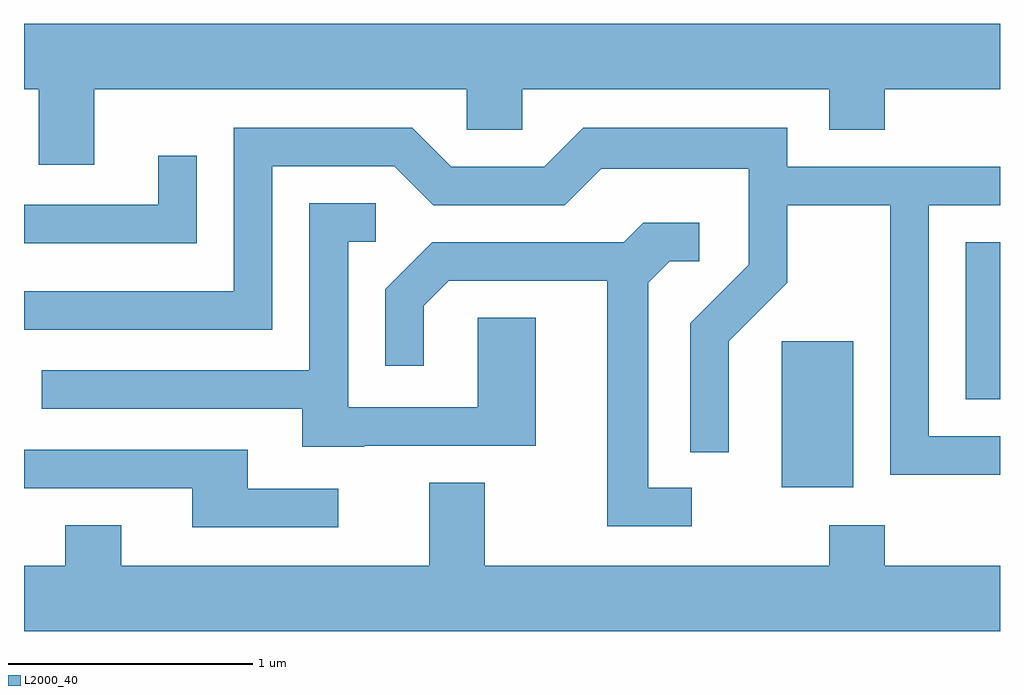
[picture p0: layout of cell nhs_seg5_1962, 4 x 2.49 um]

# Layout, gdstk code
import gdstk
lib = gdstk.Library(unit=1e-6, precision=1e-09)
def R(c, l, rs):  # rectangles x0, y0, x1, y1
    for r in rs: c.add(gdstk.rectangle(r[:2], r[2:], *l))
def P(c, l, *ps):  # polygons
    for p in ps: c.add(gdstk.Polygon(p, *l))
L2000_40 = (2000, 40)

nhs_seg5_1962 = lib.new_cell('nhs_seg5_1962')
R(nhs_seg5_1962, L2000_40, [(246.716,1432.966,247.009,1433.564), (247.471,1433.326,247.611,1433.969)])
P(nhs_seg5_1962, L2000_40, [(243.611,1434.596),(243.671,1434.596),(243.671,1434.286),(243.899,1434.286),(243.899,1434.596),(245.426,1434.596),(245.426,1434.431),(245.654,1434.431),(245.654,1434.596),(246.911,1434.596),(246.911,1434.431),(247.139,1434.431),(247.139,1434.596),(247.611,1434.596),(247.611,1434.864),(243.611,1434.864)],
  [(247.611,1433.174),(247.319,1433.174),(247.319,1434.121),(247.611,1434.121),(247.611,1434.279),(246.739,1434.279),(246.739,1434.439),(245.904,1434.439),(245.744,1434.279),(245.362,1434.279),(245.202,1434.439),(244.471,1434.439),(244.471,1433.769),(243.611,1433.769),(243.611,1433.611),(244.629,1433.611),(244.629,1434.281),(245.129,1434.281),(245.289,1434.121),(245.827,1434.121),(245.977,1434.271),(246.581,1434.271),(246.581,1433.877),(246.341,1433.637),(246.341,1433.108),(246.499,1433.108),(246.499,1433.564),(246.739,1433.804),(246.739,1434.121),(247.161,1434.121),(247.161,1433.016),(247.611,1433.016)],
  [(244.319,1434.323),(244.161,1434.323),(244.161,1434.124),(243.611,1434.124),(243.611,1433.966),(244.319,1433.966)],
  [(245.005,1433.136),(245.709,1433.136),(245.709,1433.659),(245.471,1433.659),(245.471,1433.294),(244.939,1433.294),(244.939,1433.971),(245.053,1433.971),(245.053,1434.129),(244.781,1434.129),(244.781,1433.444),(243.683,1433.444),(243.683,1433.286),(244.751,1433.286),(244.751,1433.131),(245.005,1433.131)],
  [(246.348,1432.964),(246.169,1432.964),(246.169,1433.804),(246.257,1433.891),(246.378,1433.891),(246.378,1434.049),(246.149,1434.049),(246.069,1433.969),(245.284,1433.969),(245.091,1433.777),(245.091,1433.463),(245.249,1433.463),(245.249,1433.709),(245.352,1433.811),(246.001,1433.811),(246.001,1432.806),(246.348,1432.806)],
  [(244.898,1432.959),(244.529,1432.959),(244.529,1433.119),(243.611,1433.119),(243.611,1432.961),(244.301,1432.961),(244.301,1432.801),(244.898,1432.801)],
  [(247.611,1432.644),(247.139,1432.644),(247.139,1432.809),(246.911,1432.809),(246.911,1432.644),(245.499,1432.644),(245.499,1432.984),(245.271,1432.984),(245.271,1432.644),(244.009,1432.644),(244.009,1432.809),(243.781,1432.809),(243.781,1432.644),(243.611,1432.644),(243.611,1432.376),(247.611,1432.376)])

lib.write_gds('nhs_seg5_1962.gds')
